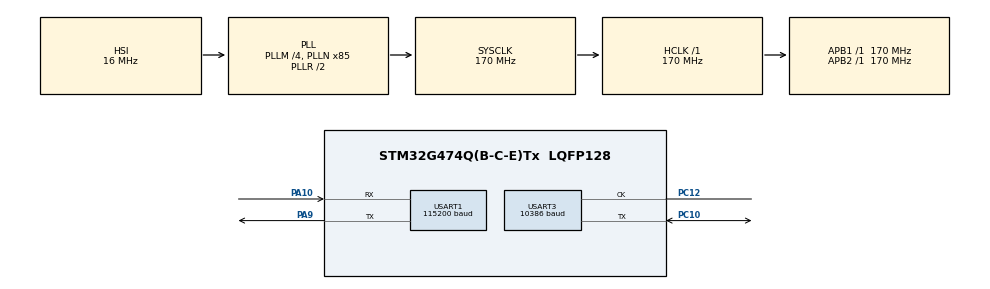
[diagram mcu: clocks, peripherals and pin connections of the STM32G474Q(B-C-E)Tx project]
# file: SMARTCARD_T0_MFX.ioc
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Mcu.Family=STM32G4
Mcu.Name=STM32G474Q(B-C-E)Tx
Mcu.Package=LQFP128
NVIC.PriorityGroup=NVIC_PRIORITYGROUP_4
NVIC.USART3_IRQn=true\:0\:0\:false\:false\:true\:true\:true\:true
PA10.GPIO_PuPd=GPIO_PULLUP
PA10.GPIO_Speed=GPIO_SPEED_FREQ_HIGH
PA10.Mode=Asynchronous
PA10.Signal=USART1_RX
PA9.GPIO_PuPd=GPIO_PULLUP
PA9.GPIO_Speed=GPIO_SPEED_FREQ_HIGH
PA9.Mode=Asynchronous
PA9.Signal=USART1_TX
PC10.GPIO_PuPd=GPIO_PULLUP
PC10.GPIO_Speed=GPIO_SPEED_FREQ_HIGH
PC10.Mode=SmartCard_With_Clock
PC10.Signal=USART3_TX
PC12.GPIO_PuPd=GPIO_PULLUP
PC12.GPIO_Speed=GPIO_SPEED_FREQ_HIGH
PC12.Mode=SmartCard_With_Clock
PC12.Signal=USART3_CK
ProjectManager.HeapSize=0x200
ProjectManager.StackSize=0x1000
ProjectManager.TargetToolchain=EWARM V8.32
RCC.ADC12Freq_Value=170000000
RCC.ADC345Freq_Value=170000000
RCC.AHBFreq_Value=170000000
RCC.APB1Freq_Value=170000000
RCC.APB1TimFreq_Value=170000000
RCC.APB2Freq_Value=170000000
RCC.APB2TimFreq_Value=170000000
RCC.CortexFreq_Value=170000000
RCC.EXTERNAL_CLOCK_VALUE=12288000
RCC.HCLKFreq_Value=170000000
RCC.HSE_VALUE=24000000
RCC.HSI48_VALUE=48000000
RCC.HSI_VALUE=16000000
RCC.LSE_VALUE=32768
RCC.PLLM=RCC_PLLM_DIV4
RCC.PLLN=85
RCC.SYSCLKFreq_VALUE=170000000
RCC.SYSCLKSource=RCC_SYSCLKSOURCE_PLLCLK
RCC.USBFreq_Value=170000000
RCC.VCOOutputFreq_Value=340000000
USART1.AutoBaudRateEnableParam=UART_ADVFEATURE_AUTOBAUDRATE_DISABLE
USART1.BaudRate=115200
USART1.ClockPrescaler=PRESCALER_DIV1
USART1.DMADisableonRxErrorParam=ADVFEATURE_DMA_ENABLEONRXERROR
USART1.DataInvertParam=ADVFEATURE_DATAINV_DISABLE
USART1.FIFOMode=FIFOMODE_DISABLE
USART1.MSBFirstParam=ADVFEATURE_MSBFIRST_DISABLE
USART1.Mode=MODE_TX_RX
USART1.OneBitSampling=UART_ONE_BIT_SAMPLE_DISABLE
USART1.OverSampling=UART_OVERSAMPLING_16
USART1.OverrunDisableParam=ADVFEATURE_OVERRUN_ENABLE
USART1.Parity=PARITY_NONE
USART1.RXFIFOThreshold=RXFIFO_THRESHOLD_1EIGHTHFULL
USART1.RxPinLevelInvertParam=ADVFEATURE_RXINV_DISABLE
USART1.StopBits=STOPBITS_1
USART1.SwapParam=ADVFEATURE_SWAP_DISABLE
USART1.TXFIFOThreshold=TXFIFO_THRESHOLD_1EIGHTHFULL
USART1.TxPinLevelInvertParam=ADVFEATURE_TXINV_DISABLE
USART1.VirtualMode-Asynchronous=VM_ASYNC
USART1.WordLength=WORDLENGTH_8B
USART3.AutoRetryCount=3
USART3.BaudRate=10386
USART3.BlockLength=0
USART3.CLKLastBit=SMARTCARD_LASTBIT_ENABLE
USART3.CLKPhase=SMARTCARD_PHASE_1EDGE
USART3.CLKPolarity=SMARTCARD_POLARITY_LOW
USART3.DMADisableonRxErrorParam=ADVFEATURE_DMA_DISABLEONRXERROR
USART3.DataInvertParam=ADVFEATURE_DATAINV_DISABLE
USART3.FIFOMode=FIFOMODE_DISABLE
USART3.GuardTime=0
USART3.MSBFirstParam=ADVFEATURE_MSBFIRST_DISABLE
USART3.Mode=MODE_TX_RX
USART3.NACKState=SMARTCARD_NACK_ENABLE
USART3.OneBitSampling=SMARTCARD_ONE_BIT_SAMPLE_DISABLE
USART3.OverrunDisableParam=ADVFEATURE_OVERRUN_DISABLE
USART3.Parity=PARITY_EVEN
USART3.Prescaler=22
USART3.RXFIFOThreshold=RXFIFO_THRESHOLD_1EIGHTHFULL
USART3.RxPinLevelInvertParam=ADVFEATURE_RXINV_DISABLE
USART3.StopBits=STOPBITS_1_5
USART3.SwapParam=ADVFEATURE_SWAP_DISABLE
USART3.TXFIFOThreshold=TXFIFO_THRESHOLD_1EIGHTHFULL
USART3.TimeOutEnable=SMARTCARD_TIMEOUT_DISABLE
USART3.TxPinLevelInvertParam=ADVFEATURE_TXINV_DISABLE
USART3.VirtualClockMode=VM_SMARTCARD
USART3.VirtualMode-SmartCard_With_Clock=VM_SMARTCARD
USART3.WordLength=WORDLENGTH_9B
VP_SYS_VS_DBSignals.Mode=DisableDeadBatterySignals
board=custom

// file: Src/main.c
/* USER CODE BEGIN Header */
/**
  ******************************************************************************
  * @file    SMARTCARD/SMARTCARD_T0_MFX/Src/main.c
  * @author  MCD Application Team
  * @brief   This sample code shows how to use SMARTCARD HAL API (SMARTCARD instance)
  *          to access to a Smartcard's information.
  ******************************************************************************
  * @attention
  *
  * Copyright (c) 2019 STMicroelectronics.
  * All rights reserved.
  *
  * This software is licensed under terms that can be found in the LICENSE file
  * in the root directory of this software component.
  * If no LICENSE file comes with this software, it is provided AS-IS.
  *
  ******************************************************************************
  */
/* USER CODE END Header */
#include "main.h"

/* USER CODE BEGIN Includes */
#include "stm32g474e_eval.h"

#if defined(HAL_UART_MODULE_ENABLED)
#include <stdio.h>
#endif /* HAL_UART_MODULE_ENABLED */

#include "smartcard.h"
/* USER CODE END Includes */

/* USER CODE BEGIN PD */
#if defined(HAL_UART_MODULE_ENABLED)
#define UART_TIMEOUT_VALUE   1000
#endif /* HAL_UART_MODULE_ENABLED */
/* USER CODE END PD */

UART_HandleTypeDef huart1;
SMARTCARD_HandleTypeDef hsmartcard3;

/* USER CODE BEGIN PV */
/* Directories & Files ID */
const uint8_t MasterRoot[2] = {0x3F, 0x00};
const uint8_t GSMDir[2] = {0x7F, 0x20};
const uint8_t ICCID[2] = {0x2F, 0xE2};
const uint8_t IMSI[2] = {0x6F, 0x07};
const uint8_t CHV1[8] = {'0', '0', '0', '0', '0', '0', '0', '0'};

/* APDU Transport Structures */
SC_ADPU_Commands SC_ADPU;
SC_ADPU_Response SC_Response;
uint32_t CHV1Status = 0, i = 0;
__IO uint8_t ICCID_Content[10] = {0x00, 0x00, 0x00, 0x00, 0x00, 0x00, 0x00, 0x00, 0x00, 0x00};
__IO uint8_t IMSI_Content[9] = {0x00, 0x00, 0x00, 0x00, 0x00, 0x00, 0x00, 0x00, 0x00};
/* USER CODE END PV */

void SystemClock_Config(void);
static void MX_GPIO_Init(void);
static void MX_USART1_UART_Init(void);
static void MX_USART3_SMARTCARD_Init(void);
/* USER CODE BEGIN PFP */
#if defined(HAL_UART_MODULE_ENABLED)
#if defined(__ICCARM__)
/* New definition from EWARM V9, compatible with EWARM8 */
int iar_fputc(int ch);
#define PUTCHAR_PROTOTYPE int iar_fputc(int ch)
#elif defined ( __CC_ARM ) || defined(__ARMCC_VERSION)
/* ARM Compiler 5/6*/
#define PUTCHAR_PROTOTYPE int fputc(int ch, FILE *f)
#elif defined(__GNUC__)
#define PUTCHAR_PROTOTYPE int __io_putchar(int ch)
#endif /* __ICCARM__ */
#endif /* HAL_UART_MODULE_ENABLED */
/* USER CODE END PFP */

int main(void)
{

  /* MCU Configuration--------------------------------------------------------*/

  /* Reset of all peripherals, Initializes the Flash interface and the Systick. */
  HAL_Init();

  /* Configure the system clock */
  SystemClock_Config();

  /* USER CODE BEGIN SysInit */
  /* Initialize the IO expander */
  BSP_IOEXPANDER_Init(0, IOEXPANDER_IO_MODE);

  /* Initialize LEDs */
  BSP_LED_Init(LED1);
  BSP_LED_Init(LED2);
  BSP_LED_Init(LED3);
  BSP_LED_Init(LED4);
  /* USER CODE END SysInit */

  /* Initialize all configured peripherals */
  MX_GPIO_Init();
  MX_USART1_UART_Init();
  MX_USART3_SMARTCARD_Init();
  /* USER CODE BEGIN 2 */

  SC_State SCState = SC_POWER_OFF;

  /* Configure Smartcard Interface GPIO pins */
  SC_IOConfig();
  /* USER CODE END 2 */

  /* Infinite loop */
  /* USER CODE BEGIN WHILE */
  /*-------------------------------- Idle task ---------------------------------*/
  while (1)
  {
#if defined(HAL_UART_MODULE_ENABLED)
    printf("-- Waiting for card insertion -- (LED1 blinking) \n\r");
#endif /* HAL_UART_MODULE_ENABLED */

    /* Loop while no Smartcard is detected */
    while(SC_IsCardInserted() == 0)
    {
      BSP_LED_Toggle(LED1);
      HAL_Delay(200);
    }
    BSP_LED_On(LED1);

    /* Start SC Demo ---------------------------------------------------------*/
#if defined(HAL_UART_MODULE_ENABLED)
    printf("-- Card inserted -- (All LEDs On) \n\r");
#endif /* HAL_UART_MODULE_ENABLED */

    /* Wait A2R --------------------------------------------------------------*/
    SCState = SC_POWER_ON;

    SC_ADPU.Header.CLA = 0x00;
    SC_ADPU.Header.INS = SC_GET_A2R;
    SC_ADPU.Header.P1 = 0x00;
    SC_ADPU.Header.P2 = 0x00;
    SC_ADPU.Body.LC = 0x00;

    while(SCState != SC_ACTIVE_ON_T0)
    {
      SC_Handler(&SCState, &SC_ADPU, &SC_Response);
    }

#if defined(HAL_UART_MODULE_ENABLED)
    printf("-- Card powered ON : ATR received --  \n\r");
#endif /* HAL_UART_MODULE_ENABLED */

    /* Wait a little after ATR message reception */
    HAL_Delay(100);

    /* Apply the Procedure Type Selection (PTS) */
    SC_PTSConfig();

#if defined(HAL_UART_MODULE_ENABLED)
    printf("-- PTS procedure performed --  \n\r");
#endif /* HAL_UART_MODULE_ENABLED */

    /* Inserts delay(400ms) for Smartcard clock resynchronisation */
    HAL_Delay(400);

    /* Select MF -------------------------------------------------------------*/
    SC_ADPU.Header.CLA = SC_CLA_GSM11;
    SC_ADPU.Header.INS = SC_SELECT_FILE;
    SC_ADPU.Header.P1 = 0x00;
    SC_ADPU.Header.P2 = 0x00;
    SC_ADPU.Body.LC = 0x02;

    for(i = 0; i < SC_ADPU.Body.LC; i++)
    {
      SC_ADPU.Body.Data[i] = MasterRoot[i];
    }
    while(i < LC_MAX)
    {
      SC_ADPU.Body.Data[i++] = 0;
    }
    SC_ADPU.Body.LE = 0;

    SC_Handler(&SCState, &SC_ADPU, &SC_Response);

#if defined(HAL_UART_MODULE_ENABLED)
    printf("-- ### SELECT MF ###  \n\r");
#endif /* HAL_UART_MODULE_ENABLED */

    /* Get Response on MF ----------------------------------------------------*/
    if(SC_Response.SW1 == SC_DF_SELECTED)
    {
      SC_ADPU.Header.CLA = SC_CLA_GSM11;
      SC_ADPU.Header.INS = SC_GET_RESPONSE;
      SC_ADPU.Header.P1 = 0x00;
      SC_ADPU.Header.P2 = 0x00;
      SC_ADPU.Body.LC = 0x00;
      SC_ADPU.Body.LE = SC_Response.SW2;

      SC_Handler(&SCState, &SC_ADPU, &SC_Response);
    }

#if defined(HAL_UART_MODULE_ENABLED)
    printf("-- ### GET RESPONSE ###  \n\r");
#endif /* HAL_UART_MODULE_ENABLED */

    /* Select ICCID ----------------------------------------------------------*/
    if(((SC_Response.SW1 << 8) | (SC_Response.SW2)) == SC_OP_TERMINATED)
    {
      /* Check if the CHV1 is enabled */
      if((SC_Response.Data[13] & 0x80) == 0x00)
      {
        CHV1Status = 0x01;
#if defined(HAL_UART_MODULE_ENABLED)
        printf("-- CHV1 is enabled --  \n\r");
#endif /* HAL_UART_MODULE_ENABLED */
      }
      else
      {
#if defined(HAL_UART_MODULE_ENABLED)
        printf("-- CHV1 is disabled --  \n\r");
#endif /* HAL_UART_MODULE_ENABLED */
      }

      /* Send APDU Command for ICCID selection */
      SC_ADPU.Header.CLA = SC_CLA_GSM11;
      SC_ADPU.Header.INS = SC_SELECT_FILE;
      SC_ADPU.Header.P1 = 0x00;
      SC_ADPU.Header.P2 = 0x00;
      SC_ADPU.Body.LC = 0x02;

      for(i = 0; i < SC_ADPU.Body.LC; i++)
      {
        SC_ADPU.Body.Data[i] = ICCID[i];
      }
      while(i < LC_MAX)
      {
        SC_ADPU.Body.Data[i++] = 0;
      }
      SC_ADPU.Body.LE = 0;

      SC_Handler(&SCState, &SC_ADPU, &SC_Response);

#if defined(HAL_UART_MODULE_ENABLED)
      printf("-- ### SELECT EF ICCID ###  \n\r");
#endif /* HAL_UART_MODULE_ENABLED */

    }

    /* Read Binary in ICCID --------------------------------------------------*/
    if(SC_Response.SW1 == SC_EF_SELECTED)
    {
      SC_ADPU.Header.CLA = SC_CLA_GSM11;
      SC_ADPU.Header.INS = SC_READ_BINARY;
      SC_ADPU.Header.P1 = 0x00;
      SC_ADPU.Header.P2 = 0x00;
      SC_ADPU.Body.LC = 0x00;

      SC_ADPU.Body.LE = 10;

      SC_Handler(&SCState, &SC_ADPU, &SC_Response);
    }

#if defined(HAL_UART_MODULE_ENABLED)
    printf("-- ### READ BINARY (ICCID) ###  \n\r");
#endif /* HAL_UART_MODULE_ENABLED */

    /* Select GSMDir ---------------------------------------------------------*/
    if(((SC_Response.SW1 << 8) | (SC_Response.SW2)) == SC_OP_TERMINATED)
    {
      /* Copy the ICCID File content into ICCID_Content buffer */
      for(i = 0; i < SC_ADPU.Body.LE; i++)
      {
        ICCID_Content[i] =  SC_Response.Data[i];
      }
#if defined(HAL_UART_MODULE_ENABLED)
      printf("--     ICCID Value =  ");
      for(i = 0; i < SC_ADPU.Body.LE; i++)
      {
        printf("%x  ",ICCID_Content[i]);
      }
      printf("\n\r");
#endif /* HAL_UART_MODULE_ENABLED */

      /* Send APDU Command for GSMDir selection */
      SC_ADPU.Header.CLA = SC_CLA_GSM11;
      SC_ADPU.Header.INS = SC_SELECT_FILE;
      SC_ADPU.Header.P1 = 0x00;
      SC_ADPU.Header.P2 = 0x00;
      SC_ADPU.Body.LC = 0x02;

      for(i = 0; i < SC_ADPU.Body.LC; i++)
      {
        SC_ADPU.Body.Data[i] = GSMDir[i];
      }
      while(i < LC_MAX)
      {
        SC_ADPU.Body.Data[i++] = 0;
      }
      SC_ADPU.Body.LE = 0;

      SC_Handler(&SCState, &SC_ADPU, &SC_Response);

#if defined(HAL_UART_MODULE_ENABLED)
      printf("-- ### SELECT DF GSM ###  \n\r");
#endif /* HAL_UART_MODULE_ENABLED */
    }

    /* Select IMSI -----------------------------------------------------------*/
    if(SC_Response.SW1 == SC_DF_SELECTED)
    {
      SC_ADPU.Header.CLA = SC_CLA_GSM11;
      SC_ADPU.Header.INS = SC_SELECT_FILE;
      SC_ADPU.Header.P1 = 0x00;
      SC_ADPU.Header.P2 = 0x00;
      SC_ADPU.Body.LC = 0x02;

      for(i = 0; i < SC_ADPU.Body.LC; i++)
      {
        SC_ADPU.Body.Data[i] = IMSI[i];
      }
      while(i < LC_MAX)
      {
        SC_ADPU.Body.Data[i++] = 0;
      }
      SC_ADPU.Body.LE = 0;

      SC_Handler(&SCState, &SC_ADPU, &SC_Response);

#if defined(HAL_UART_MODULE_ENABLED)
      printf("-- ### SELECT EF IMSI ###  \n\r");
#endif /* HAL_UART_MODULE_ENABLED */
    }

    /* Get Response on IMSI File ---------------------------------------------*/
    if(SC_Response.SW1 == SC_EF_SELECTED)
    {
      SC_ADPU.Header.CLA = SC_CLA_GSM11;
      SC_ADPU.Header.INS = SC_GET_RESPONSE;
      SC_ADPU.Header.P1 = 0x00;
      SC_ADPU.Header.P2 = 0x00;
      SC_ADPU.Body.LC = 0x00;
      SC_ADPU.Body.LE = SC_Response.SW2;

      SC_Handler(&SCState, &SC_ADPU, &SC_Response);
    }

    /* Read Binary in IMSI ---------------------------------------------------*/
    if(CHV1Status == 0x00)
    {
      if(((SC_Response.SW1 << 8) | (SC_Response.SW2)) == SC_OP_TERMINATED)
      {
        /* Enable CHV1 (PIN1) ------------------------------------------------*/
        /* CHV1 enabling should be done using proper value of used card CHV1 */
        /* Please fill corresponding value in CHV1[array] . Current value is set to "00000000". */
        /*
        SC_ADPU.Header.CLA = SC_CLA_GSM11;
        SC_ADPU.Header.INS = SC_ENABLE;
        SC_ADPU.Header.P1 = 0x00;
        SC_ADPU.Header.P2 = 0x01;
        SC_ADPU.Body.LC = 0x04;

        for(i = 0; i < SC_ADPU.Body.LC; i++)
        {
          SC_ADPU.Body.Data[i] = CHV1[i];
        }
        while(i < LC_MAX)
        {
          SC_ADPU.Body.Data[i++] = 0;
        }
        SC_ADPU.Body.LE = 0;

        SC_Handler(&SCState, &SC_ADPU, &SC_Response);
        */
#if defined(HAL_UART_MODULE_ENABLED)
        /* printf("-- ### CHV1 ENABLE ###  \n\r"); */
#endif /* HAL_UART_MODULE_ENABLED */
      }
    }
    else
    {
      if(((SC_Response.SW1 << 8) | (SC_Response.SW2)) == SC_OP_TERMINATED)
      {
        /* Verify CHV1 (PIN1) ------------------------------------------------*/
        /* CHV1 enabling should be done using proper value of used card CHV1 */
        /* Please fill corresponding value in CHV1[array] . Current value is set to "00000000". */
        SC_ADPU.Header.CLA = SC_CLA_GSM11;
        SC_ADPU.Header.INS = SC_VERIFY;
        SC_ADPU.Header.P1 = 0x00;
        SC_ADPU.Header.P2 = 0x01;
        SC_ADPU.Body.LC = 0x08;

        for(i = 0; i < SC_ADPU.Body.LC; i++)
        {
          SC_ADPU.Body.Data[i] = CHV1[i];
        }
        while(i < LC_MAX)
        {
          SC_ADPU.Body.Data[i++] = 0;
        }
        SC_ADPU.Body.LE = 0;

        SC_Handler(&SCState, &SC_ADPU, &SC_Response);
#if defined(HAL_UART_MODULE_ENABLED)
        printf("-- ### CHV1 VERIFY ###  \n\r");
#endif /* HAL_UART_MODULE_ENABLED */
      }
    }
    /* Read Binary in IMSI ---------------------------------------------------*/
    if(((SC_Response.SW1 << 8) | (SC_Response.SW2)) == SC_OP_TERMINATED)
    {
#if defined(HAL_UART_MODULE_ENABLED)
      printf("-- ### CHV1 Operation successful ###  \n\r");
#endif /* HAL_UART_MODULE_ENABLED */
      SC_ADPU.Header.CLA = SC_CLA_GSM11;
      SC_ADPU.Header.INS = SC_READ_BINARY;
      SC_ADPU.Header.P1 = 0x00;
      SC_ADPU.Header.P2 = 0x00;
      SC_ADPU.Body.LC = 0x00;

      SC_ADPU.Body.LE = 9;

      SC_Handler(&SCState, &SC_ADPU, &SC_Response);
    }
    else
    {
#if defined(HAL_UART_MODULE_ENABLED)
      printf("-- ### CHV1 Operation unsuccessful : SW1/SW2=0x%4x ###  \n\r", ((SC_Response.SW1 << 8) | (SC_Response.SW2)));
#endif /* HAL_UART_MODULE_ENABLED */
    }

#if defined(HAL_UART_MODULE_ENABLED)
    printf("-- ### READ BINARY (IMSI) ###  \n\r");
#endif /* HAL_UART_MODULE_ENABLED */

    if(((SC_Response.SW1 << 8) | (SC_Response.SW2)) == SC_OP_TERMINATED)
    {
      /* Copy the IMSI File content into IMSI_Content buffer */
      for(i = 0; i < SC_ADPU.Body.LE; i++)
      {
        IMSI_Content[i] =  SC_Response.Data[i];
      }
    }
#if defined(HAL_UART_MODULE_ENABLED)
    printf("--     IMSI Value =  ");
    for(i = 0; i < SC_ADPU.Body.LE; i++)
    {
      printf("%x  ",IMSI_Content[i]);
    }
    printf("\n\r");
#endif /* HAL_UART_MODULE_ENABLED */

    /* Disable the Smartcard interface */
    SCState = SC_POWER_OFF;
    SC_Handler(&SCState, &SC_ADPU, &SC_Response);

#if defined(HAL_UART_MODULE_ENABLED)
    printf("-- Card powered OFF --  \n\r");
#endif /* HAL_UART_MODULE_ENABLED */

#if defined(HAL_UART_MODULE_ENABLED)
    printf("-- Waiting for card removal -- (LED1 blinking) \n\r");
#endif /* HAL_UART_MODULE_ENABLED */

    /* Loop while a Smartcard is detected */
    while(SC_IsCardInserted() == 1)
    {
      BSP_LED_Toggle(LED1);
      HAL_Delay(200);
    }
    BSP_LED_Off(LED1);
    /* USER CODE END WHILE */

  }
}

void SystemClock_Config(void)
{
  RCC_OscInitTypeDef RCC_OscInitStruct = {0};
  RCC_ClkInitTypeDef RCC_ClkInitStruct = {0};

  /** Configure the main internal regulator output voltage
  */
  HAL_PWREx_ControlVoltageScaling(PWR_REGULATOR_VOLTAGE_SCALE1_BOOST);

  /** Initializes the RCC Oscillators according to the specified parameters
  * in the RCC_OscInitTypeDef structure.
  */
  RCC_OscInitStruct.OscillatorType = RCC_OSCILLATORTYPE_HSI;
  RCC_OscInitStruct.HSIState = RCC_HSI_ON;
  RCC_OscInitStruct.HSICalibrationValue = RCC_HSICALIBRATION_DEFAULT;
  RCC_OscInitStruct.PLL.PLLState = RCC_PLL_ON;
  RCC_OscInitStruct.PLL.PLLSource = RCC_PLLSOURCE_HSI;
  RCC_OscInitStruct.PLL.PLLM = RCC_PLLM_DIV4;
  RCC_OscInitStruct.PLL.PLLN = 85;
  RCC_OscInitStruct.PLL.PLLP = RCC_PLLP_DIV2;
  RCC_OscInitStruct.PLL.PLLQ = RCC_PLLQ_DIV2;
  RCC_OscInitStruct.PLL.PLLR = RCC_PLLR_DIV2;
  if (HAL_RCC_OscConfig(&RCC_OscInitStruct) != HAL_OK)
  {
    Error_Handler();
  }

  /** Initializes the CPU, AHB and APB buses clocks
  */
  RCC_ClkInitStruct.ClockType = RCC_CLOCKTYPE_HCLK|RCC_CLOCKTYPE_SYSCLK
                              |RCC_CLOCKTYPE_PCLK1|RCC_CLOCKTYPE_PCLK2;
  RCC_ClkInitStruct.SYSCLKSource = RCC_SYSCLKSOURCE_PLLCLK;
  RCC_ClkInitStruct.AHBCLKDivider = RCC_SYSCLK_DIV1;
  RCC_ClkInitStruct.APB1CLKDivider = RCC_HCLK_DIV1;
  RCC_ClkInitStruct.APB2CLKDivider = RCC_HCLK_DIV1;

  if (HAL_RCC_ClockConfig(&RCC_ClkInitStruct, FLASH_LATENCY_4) != HAL_OK)
  {
    Error_Handler();
  }
}

static void MX_USART1_UART_Init(void)
{

  huart1.Instance = USART1;
  huart1.Init.BaudRate = 115200;
  huart1.Init.WordLength = UART_WORDLENGTH_8B;
  huart1.Init.StopBits = UART_STOPBITS_1;
  huart1.Init.Parity = UART_PARITY_NONE;
  huart1.Init.Mode = UART_MODE_TX_RX;
  huart1.Init.HwFlowCtl = UART_HWCONTROL_NONE;
  huart1.Init.OverSampling = UART_OVERSAMPLING_16;
  huart1.Init.OneBitSampling = UART_ONE_BIT_SAMPLE_DISABLE;
  huart1.Init.ClockPrescaler = UART_PRESCALER_DIV1;
  huart1.AdvancedInit.AdvFeatureInit = UART_ADVFEATURE_NO_INIT;
  if (HAL_UART_Init(&huart1) != HAL_OK)
  {
    Error_Handler();
  }
  if (HAL_UARTEx_SetTxFifoThreshold(&huart1, UART_TXFIFO_THRESHOLD_1_8) != HAL_OK)
  {
    Error_Handler();
  }
  if (HAL_UARTEx_SetRxFifoThreshold(&huart1, UART_RXFIFO_THRESHOLD_1_8) != HAL_OK)
  {
    Error_Handler();
  }
  if (HAL_UARTEx_DisableFifoMode(&huart1) != HAL_OK)
  {
    Error_Handler();
  }

}

static void MX_USART3_SMARTCARD_Init(void)
{

  hsmartcard3.Instance = USART3;
  hsmartcard3.Init.BaudRate = 10386;
  hsmartcard3.Init.WordLength = SMARTCARD_WORDLENGTH_9B;
  hsmartcard3.Init.StopBits = SMARTCARD_STOPBITS_1_5;
  hsmartcard3.Init.Parity = SMARTCARD_PARITY_EVEN;
  hsmartcard3.Init.Mode = SMARTCARD_MODE_TX_RX;
  hsmartcard3.Init.CLKPolarity = SMARTCARD_POLARITY_LOW;
  hsmartcard3.Init.CLKPhase = SMARTCARD_PHASE_1EDGE;
  hsmartcard3.Init.CLKLastBit = SMARTCARD_LASTBIT_ENABLE;
  hsmartcard3.Init.OneBitSampling = SMARTCARD_ONE_BIT_SAMPLE_DISABLE;
  hsmartcard3.Init.Prescaler = 22;
  hsmartcard3.Init.GuardTime = 0;
  hsmartcard3.Init.NACKEnable = SMARTCARD_NACK_ENABLE;
  hsmartcard3.Init.TimeOutEnable = SMARTCARD_TIMEOUT_DISABLE;
  hsmartcard3.Init.BlockLength = 0;
  hsmartcard3.Init.AutoRetryCount = 3;
  hsmartcard3.Init.ClockPrescaler = SMARTCARD_PRESCALER_DIV1;
  hsmartcard3.AdvancedInit.AdvFeatureInit = SMARTCARD_ADVFEATURE_RXOVERRUNDISABLE_INIT|SMARTCARD_ADVFEATURE_DMADISABLEONERROR_INIT;
  hsmartcard3.AdvancedInit.OverrunDisable = SMARTCARD_ADVFEATURE_OVERRUN_DISABLE;
  hsmartcard3.AdvancedInit.DMADisableonRxError = SMARTCARD_ADVFEATURE_DMA_DISABLEONRXERROR;
  if (HAL_SMARTCARD_Init(&hsmartcard3) != HAL_OK)
  {
    Error_Handler();
  }
  if (HAL_SMARTCARDEx_SetTxFifoThreshold(&hsmartcard3, SMARTCARD_TXFIFO_THRESHOLD_1_8) != HAL_OK)
  {
    Error_Handler();
  }
  if (HAL_SMARTCARDEx_SetRxFifoThreshold(&hsmartcard3, SMARTCARD_RXFIFO_THRESHOLD_1_8) != HAL_OK)
  {
    Error_Handler();
  }
  if (HAL_SMARTCARDEx_DisableFifoMode(&hsmartcard3) != HAL_OK)
  {
    Error_Handler();
  }

}

static void MX_GPIO_Init(void)
{

  /* GPIO Ports Clock Enable */
  __HAL_RCC_GPIOA_CLK_ENABLE();
  __HAL_RCC_GPIOC_CLK_ENABLE();

}

/* USER CODE BEGIN 4 */

/**
  * @brief EXTI line detection callbacks
  * @param GPIO_Pin: Specifies the pins connected EXTI line
  * @retval None
  */
void HAL_GPIO_EXTI_Callback(uint16_t GPIO_Pin)
{
  SC_MFX_EXTI_Callback();
}

/**
  * @brief SMARTCARD error callbacks
  * @param hsc: usart handle
  * @retval None
  */
void HAL_SMARTCARD_ErrorCallback(SMARTCARD_HandleTypeDef *hsc)
{
  if(HAL_SMARTCARD_GetError(hsc) & HAL_SMARTCARD_ERROR_FE)
  {
    __HAL_SMARTCARD_FLUSH_DRREGISTER(hsc);
    /* Resend the byte that failed to be received (by the Smartcard) correctly */
    SC_ParityErrorHandler();
  }

  if(HAL_SMARTCARD_GetError(hsc) & HAL_SMARTCARD_ERROR_PE)
  {
    /* Enable SC_USART RXNE Interrupt (until receiving the corrupted byte) */
    __HAL_SMARTCARD_ENABLE_IT(hsc, SMARTCARD_IT_RXNE);
    /* Flush the SC_USART DR register */
    __HAL_SMARTCARD_FLUSH_DRREGISTER(hsc);
  }
  if(HAL_SMARTCARD_GetError(hsc) & HAL_SMARTCARD_ERROR_NE)
  {
    __HAL_SMARTCARD_FLUSH_DRREGISTER(hsc);
  }

  if(HAL_SMARTCARD_GetError(hsc) & HAL_SMARTCARD_ERROR_ORE)
  {
    __HAL_SMARTCARD_FLUSH_DRREGISTER(hsc);
  }
}

/**
  * @brief Rx Transfer completed callbacks
  * @param hsc: usart handle
  * @retval None
  */
void HAL_SMARTCARD_RxCpltCallback(SMARTCARD_HandleTypeDef *hsc)
{
  /* Disable SC_USART RXNE Interrupt */
  __HAL_SMARTCARD_DISABLE_IT(hsc, SMARTCARD_IT_RXNE);
  hsc->Instance->RDR;
}

#if defined(HAL_UART_MODULE_ENABLED)
/**
  * @brief  Retargets the C library __write function to the IAR function iar_fputc.
  * @param  file: file descriptor.
  * @param  ptr: pointer to the buffer where the data is stored.
  * @param  len: length of the data to write in bytes.
  * @retval length of the written data in bytes.
  */
#if defined(__ICCARM__)
size_t __write(int file, unsigned char const *ptr, size_t len)
{
  size_t idx;
  unsigned char const *pdata = ptr;

  for (idx = 0; idx < len; idx++)
  {
    iar_fputc((int)*pdata);
    pdata++;
  }
  return len;
}
#endif /* __ICCARM__ */

/**
  * @brief  Retargets the C library printf function to the huart1.
  */
PUTCHAR_PROTOTYPE
{
  /* Place your implementation of fputc here */
  /* e.g. write a character to the EVAL_COM1 and Loop until the end of transmission */
  HAL_UART_Transmit(&huart1, (uint8_t *)&ch, 1, UART_TIMEOUT_VALUE);

  return ch;
}

/**
  * @brief  Retargets the C library scanf function to the huart1.
  * @param  f: pointer to file (not used)
  * @retval The character received
  */
int fgetc(FILE * f)
{
  uint8_t ch = 0;
  /* We received the charracter on the handler of the huart1 */
  /* The handler must be initialise before */
  HAL_UART_Receive(&huart1, (uint8_t *)&ch, 1, UART_TIMEOUT_VALUE);

  return ch;
}
#endif /* HAL_UART_MODULE_ENABLED */

/* USER CODE END 4 */

void Error_Handler(void)
{
  /* USER CODE BEGIN Error_Handler_Debug */
  /* User can add his own implementation to report the HAL error return state */
  /* Toggle LED3 */
  while(1)
  {
    BSP_LED_Toggle(LED3);
    HAL_Delay(1000);
  }
  /* USER CODE END Error_Handler_Debug */
}
